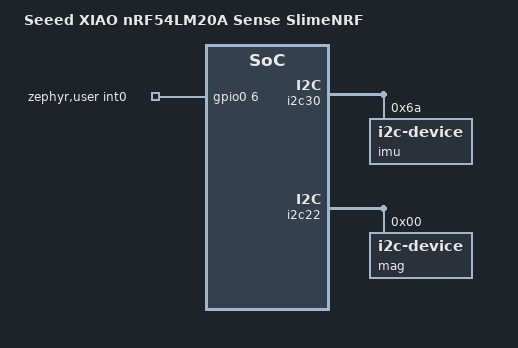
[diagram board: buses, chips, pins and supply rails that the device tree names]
/*
 * Copyright (c) 2025 Seeed Technology Co., Ltd.
 * SPDX-License-Identifier: Apache-2.0
 */

/dts-v1/;

#include "nrf54lm20a_cpuapp_common.dtsi"
#include "seeed_xiao_connector.dtsi"

/ {
	model = "Seeed XIAO nRF54LM20A Sense SlimeNRF";
	compatible = "seeed,xiao-nrf54lm20a-sense-cpuapp";

	zephyr,user {
		int0-gpios = <&gpio0 6 GPIO_ACTIVE_HIGH>;
	};
};

&i2c30 {
	status = "okay";

	/* Use SlimeNRF's own register driver, not Zephyr's LSM6DSL driver. */
	imu: imu@6a {
		compatible = "i2c-device";
		reg = <0x6a>;
	};
};

&i2c22 {
	mag: mag@0 {
		compatible = "i2c-device";
		reg = <0>;
	};
};

